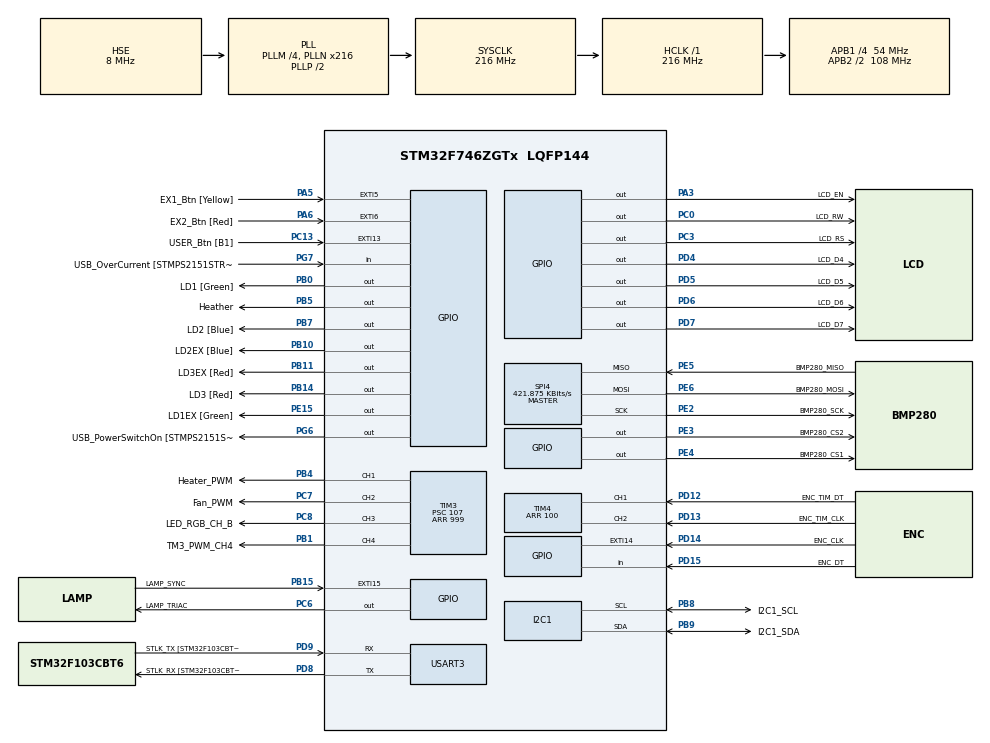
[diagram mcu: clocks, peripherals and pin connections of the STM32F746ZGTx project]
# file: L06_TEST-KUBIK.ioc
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Dma.Request0=USART3_RX
Dma.USART3_RX.0.Direction=DMA_PERIPH_TO_MEMORY
Dma.USART3_RX.0.FIFOMode=DMA_FIFOMODE_DISABLE
Dma.USART3_RX.0.Instance=DMA1_Stream1
Dma.USART3_RX.0.MemDataAlignment=DMA_MDATAALIGN_BYTE
Dma.USART3_RX.0.MemInc=DMA_MINC_ENABLE
Dma.USART3_RX.0.Mode=DMA_NORMAL
Dma.USART3_RX.0.PeriphDataAlignment=DMA_PDATAALIGN_BYTE
Dma.USART3_RX.0.PeriphInc=DMA_PINC_DISABLE
Dma.USART3_RX.0.Priority=DMA_PRIORITY_LOW
I2C1.Timing=0x20404768
Mcu.Family=STM32F7
Mcu.Name=STM32F746ZGTx
Mcu.Package=LQFP144
NVIC.DMA1_Stream1_IRQn=true\:0\:0\:false\:false\:true\:false\:true
NVIC.EXTI15_10_IRQn=true\:0\:0\:false\:false\:true\:true\:true
NVIC.EXTI9_5_IRQn=true\:0\:0\:false\:false\:true\:true\:true
NVIC.PriorityGroup=NVIC_PRIORITYGROUP_4
NVIC.TIM2_IRQn=true\:0\:0\:false\:false\:true\:true\:true
PA1.GPIO_Label=RMII_REF_CLK [LAN8742A-CZ-TR_REFCLK0]
PA1.Signal=ETH_REF_CLK
PA10.GPIO_Label=USB_ID
PA10.Signal=USB_OTG_FS_ID
PA11.GPIO_Label=USB_DM
PA11.Signal=USB_OTG_FS_DM
PA12.GPIO_Label=USB_DP
PA12.Signal=USB_OTG_FS_DP
PA13.GPIO_Label=TMS
PA13.Mode=Serial_Wire
PA13.Signal=SYS_JTMS-SWDIO
PA14.GPIO_Label=TCK
PA14.Mode=Serial_Wire
PA14.Signal=SYS_JTCK-SWCLK
PA2.GPIO_Label=RMII_MDIO [LAN8742A-CZ-TR_MDIO]
PA2.Signal=ETH_MDIO
PA3.GPIO_Label=LCD_EN
PA3.Signal=GPIO_Output
PA5.GPIO_Label=EX1_Btn [Yellow]
PA5.GPIO_ModeDefaultEXTI=GPIO_MODE_IT_FALLING
PA5.Signal=GPXTI5
PA6.GPIO_Label=EX2_Btn [Red]
PA6.GPIO_ModeDefaultEXTI=GPIO_MODE_IT_RISING
PA6.Signal=GPXTI6
PA8.GPIO_Label=USB_SOF [TP1]
PA8.Signal=USB_OTG_FS_SOF
PA9.GPIO_Label=USB_VBUS
PA9.Signal=USB_OTG_FS_VBUS
PB0.GPIO_Label=LD1 [Green]
PB0.Signal=GPIO_Output
PB1.GPIO_Label=TM3_PWM_CH4
PB1.Signal=S_TIM3_CH4
PB10.GPIO_Label=LD2EX [Blue]
PB10.Signal=GPIO_Output
PB11.GPIO_Label=LD3EX [Red]
PB11.Signal=GPIO_Output
PB13.GPIO_Label=RMII_TXD1 [LAN8742A-CZ-TR_TXD1]
PB13.Signal=ETH_TXD1
PB14.GPIO_Label=LD3 [Red]
PB14.Signal=GPIO_Output
PB15.GPIO_Label=LAMP_SYNC
PB15.Signal=GPXTI15
PB3.GPIO_Label=SW0
PB3.Signal=SYS_JTDO-SWO
PB4.GPIO_Label=Heater_PWM
PB4.Signal=S_TIM3_CH1
PB5.GPIO_Label=Heather
PB5.Signal=GPIO_Output
PB7.GPIO_Label=LD2 [Blue]
PB7.Signal=GPIO_Output
PB8.GPIO_Label=I2C1_SCL
PB8.GPIO_PuPdOD=GPIO_NOPULL
PB8.Mode=I2C
PB8.Signal=I2C1_SCL
PB9.GPIO_Label=I2C1_SDA
PB9.GPIO_PuPdOD=GPIO_NOPULL
PB9.Mode=I2C
PB9.Signal=I2C1_SDA
PC0.GPIO_Label=LCD_RW
PC0.Signal=GPIO_Output
PC1.GPIO_Label=RMII_MDC [LAN8742A-CZ-TR_MDC]
PC1.Signal=ETH_MDC
PC13.GPIO_Label=USER_Btn [B1]
PC13.Signal=GPXTI13
PC14/OSC32_IN.Mode=LSE-External-Oscillator
PC14/OSC32_IN.Signal=RCC_OSC32_IN
PC15/OSC32_OUT.Mode=LSE-External-Oscillator
PC15/OSC32_OUT.Signal=RCC_OSC32_OUT
PC3.GPIO_Label=LCD_RS
PC3.Signal=GPIO_Output
PC4.GPIO_Label=RMII_RXD0 [LAN8742A-CZ-TR_RXD0]
PC4.Signal=ETH_RXD0
PC5.GPIO_Label=RMII_RXD1 [LAN8742A-CZ-TR_RXD1]
PC5.Signal=ETH_RXD1
PC6.GPIO_Label=LAMP_TRIAC
PC6.GPIO_Speed=GPIO_SPEED_FREQ_HIGH
PC6.Signal=GPIO_Output
PC7.GPIO_Label=Fan_PWM
PC7.Signal=S_TIM3_CH2
PC8.GPIO_Label=LED_RGB_CH_B
PC8.Signal=S_TIM3_CH3
PD12.GPIO_Label=ENC_TIM_DT
PD12.Signal=S_TIM4_CH1
PD13.GPIO_Label=ENC_TIM_CLK
PD13.Signal=S_TIM4_CH2
PD14.GPIO_Label=ENC_CLK
PD14.GPIO_ModeDefaultEXTI=GPIO_MODE_IT_FALLING
PD14.Signal=GPXTI14
PD15.GPIO_Label=ENC_DT
PD15.Signal=GPIO_Input
PD4.GPIO_Label=LCD_D4
PD4.Signal=GPIO_Output
PD5.GPIO_Label=LCD_D5
PD5.Signal=GPIO_Output
PD6.GPIO_Label=LCD_D6
PD6.Signal=GPIO_Output
PD7.GPIO_Label=LCD_D7
PD7.Signal=GPIO_Output
PD8.GPIO_Label=STLK_RX [STM32F103CBT6_PA3]
PD8.Mode=Asynchronous
PD8.Signal=USART3_TX
PD9.GPIO_Label=STLK_TX [STM32F103CBT6_PA2]
PD9.Mode=Asynchronous
PD9.Signal=USART3_RX
PE15.GPIO_Label=LD1EX [Green]
PE15.Signal=GPIO_Output
PE2.GPIO_Label=BMP280_SCK
PE2.Mode=Full_Duplex_Master
PE2.Signal=SPI4_SCK
PE3.GPIO_Label=BMP280_CS2
PE3.GPIO_Speed=GPIO_SPEED_FREQ_VERY_HIGH
PE3.PinState=GPIO_PIN_SET
PE3.Signal=GPIO_Output
PE4.GPIO_Label=BMP280_CS1
PE4.GPIO_Speed=GPIO_SPEED_FREQ_VERY_HIGH
PE4.PinState=GPIO_PIN_SET
PE4.Signal=GPIO_Output
PE5.GPIO_Label=BMP280_MISO
PE5.Mode=Full_Duplex_Master
PE5.Signal=SPI4_MISO
PE6.GPIO_Label=BMP280_MOSI
PE6.Mode=Full_Duplex_Master
PE6.Signal=SPI4_MOSI
PG11.GPIO_Label=RMII_TX_EN [LAN8742A-CZ-TR_TXEN]
PG11.Signal=ETH_TX_EN
PG13.GPIO_Label=RMII_TXD0 [LAN8742A-CZ-TR_TXD0]
PG13.Signal=ETH_TXD0
PG6.GPIO_Label=USB_PowerSwitchOn [STMPS2151STR_EN]
PG6.Signal=GPIO_Output
PG7.GPIO_Label=USB_OverCurrent [STMPS2151STR_FAULT]
PG7.Signal=GPIO_Input
PH0/OSC_IN.GPIO_Label=MCO [STM32F103CBT6_PA8]
PH0/OSC_IN.Mode=HSE-External-Clock-Source
PH0/OSC_IN.Signal=RCC_OSC_IN
PH1/OSC_OUT.Mode=HSE-External-Clock-Source
PH1/OSC_OUT.Signal=RCC_OSC_OUT
ProjectManager.HeapSize=0x200
ProjectManager.StackSize=0x400
ProjectManager.TargetToolchain=STM32CubeIDE
RCC.48MHZClocksFreq_Value=24000000
RCC.AHBFreq_Value=216000000
RCC.APB1CLKDivider=RCC_HCLK_DIV4
RCC.APB1Freq_Value=54000000
RCC.APB1TimFreq_Value=108000000
RCC.APB2CLKDivider=RCC_HCLK_DIV2
RCC.APB2Freq_Value=108000000
RCC.APB2TimFreq_Value=216000000
RCC.CortexFreq_Value=216000000
RCC.HCLKFreq_Value=216000000
RCC.HSE_VALUE=8000000
RCC.HSI_VALUE=16000000
RCC.PLLM=4
RCC.PLLMUL=RCC_PLL_MUL9
RCC.PLLN=216
RCC.PLLQ=3
RCC.PLLSourceVirtual=RCC_PLLSOURCE_HSE
RCC.PRESCALERUSB=RCC_USBCLKSOURCE_PLL_DIV1_5
RCC.SYSCLKFreq_VALUE=216000000
RCC.SYSCLKSource=RCC_SYSCLKSOURCE_PLLCLK
RCC.SYSCLKSourceVirtual=RCC_SYSCLKSOURCE_PLLCLK
RCC.USBFreq_Value=144000000
RCC.VCOOutputFreq_Value=432000000
SH.S_TIM3_CH1.0=TIM3_CH1,PWM Generation1 CH1
SH.S_TIM3_CH2.0=TIM3_CH2,PWM Generation2 CH2
SH.S_TIM3_CH3.0=TIM3_CH3,PWM Generation3 CH3
SH.S_TIM3_CH4.0=TIM3_CH4,PWM Generation4 CH4
SH.S_TIM4_CH1.0=TIM4_CH1,Encoder_Interface
SH.S_TIM4_CH2.0=TIM4_CH2,Encoder_Interface
SPI4.BaudRatePrescaler=SPI_BAUDRATEPRESCALER_256
SPI4.CLKPhase=SPI_PHASE_2EDGE
SPI4.CLKPolarity=SPI_POLARITY_HIGH
SPI4.CalculateBaudRate=421.875 KBits/s
SPI4.DataSize=SPI_DATASIZE_8BIT
SPI4.Direction=SPI_DIRECTION_2LINES
SPI4.Mode=SPI_MODE_MASTER
SPI4.VirtualType=VM_MASTER
TIM2.Period=24999
TIM2.Prescaler=1007
TIM3.Channel-PWM\ Generation1\ CH1=TIM_CHANNEL_1
TIM3.Channel-PWM\ Generation2\ CH2=TIM_CHANNEL_2
TIM3.Channel-PWM\ Generation3\ CH3=TIM_CHANNEL_3
TIM3.Channel-PWM\ Generation4\ CH4=TIM_CHANNEL_4
TIM3.Period=999
TIM3.Prescaler=107
TIM3.Pulse-PWM\ Generation2\ CH2=0
TIM3.Pulse-PWM\ Generation3\ CH3=0
TIM4.EncoderMode=TIM_ENCODERMODE_TI12
TIM4.IC1Polarity=TIM_ICPOLARITY_FALLING
TIM4.IC2Polarity=TIM_ICPOLARITY_FALLING
TIM4.Period=100
USART3.VirtualMode-Asynchronous=VM_ASYNC
VP_TIM2_VS_ClockSourceINT.Mode=Internal
VP_TIM3_VS_ClockSourceINT.Mode=Internal
board=NUCLEO-F746ZG

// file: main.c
/* USER CODE BEGIN Header */
/**
******************************************************************************
* @file           : main.c
* @brief          : Main program body
******************************************************************************
* @attention
*
* <h2><center>&copy; Copyright (c) 2020 STMicroelectronics.
* All rights reserved.</center></h2>
*
* This software component is licensed by ST under BSD 3-Clause license,
* the "License"; You may not use this file except in compliance with the
* License. You may obtain a copy of the License at:
*                        opensource.org/licenses/BSD-3-Clause
*
******************************************************************************
*/
/* USER CODE END Header */
#include "main.h"
#include "dma.h"
#include "i2c.h"
#include "spi.h"
#include "tim.h"
#include "usart.h"
#include "gpio.h"

/* USER CODE BEGIN Includes */
#include "components.h"
#include <stdio.h>
#include <stdbool.h>
/* USER CODE END Includes */

/* USER CODE BEGIN PD */
#define TEMP_MIN 2550
#define TEMP_MAX 3750
#define TEMP_STEP 25

/* USER CODE END PD */

/* USER CODE BEGIN PV */
int32_t wzmocnienie_grzalka = 0;
int32_t wzmocnienie_wiatrak = 0;

uint32_t enc_counter = 0;
int32_t temperatura_zadana=TEMP_MIN;
uint32_t kp =20;
uint32_t uchyb = 0;
char rx_buffer[5];
char tx_buffer[200];
char tx_buffer2[50];
int32_t temp32;

/* USER CODE END PV */

void SystemClock_Config(void);

/* USER CODE BEGIN 0 */

/**
  * @brief  Period elapsed callback in non-blocking mode
  * @param  htim TIM handle
  * @retval None
  */
void HAL_TIM_PeriodElapsedCallback(TIM_HandleTypeDef *htim)
{
  if(htim->Instance==TIM2)
  {
    regulacja(&wzmocnienie_grzalka,  &wzmocnienie_wiatrak,  &kp, &uchyb,  &temperatura_zadana,  &temp32);
    sterowanie( &wzmocnienie_grzalka,  &wzmocnienie_wiatrak);
  }
}

/**
  * @brief  EXTI line detection callbacks.
  * @param  GPIO_Pin Specifies the pins connected EXTI line
  * @retval None
  */
void HAL_GPIO_EXTI_Callback(uint16_t GPIO_Pin)
{
  /*Przyciski do zmiany temperatury*/
  if(GPIO_Pin == EX1_Btn_Pin)
  {
    if(temperatura_zadana==TEMP_MIN)
    {
	  temperatura_zadana=TEMP_MIN;
    }
    else
    {
	  temperatura_zadana+=-TEMP_STEP;
    }
  }
  if(GPIO_Pin == EX2_Btn_Pin)
  {
    if(temperatura_zadana==TEMP_MAX)
    {
	  temperatura_zadana=TEMP_MAX;
    }
    else
    {
	  temperatura_zadana+=TEMP_STEP;
    }
  }
}

/**
  * @brief  Rx Transfer completed callback.
  * @param  huart UART handle.
  * @retval None
  */
void HAL_UART_RxCpltCallback(UART_HandleTypeDef *huart)
  {
  if(huart->Instance ==USART3)
    pobieranie_temperatury_UART(rx_buffer,&temperatura_zadana);
  }

/* USER CODE END 0 */

int main(void)
{
  /* USER CODE BEGIN 1 */
  int8_t BMP280_1_Status = -1;

  struct bmp280_uncomp_data bmp280_1_data;

  /* USER CODE END 1 */

  /* MCU Configuration--------------------------------------------------------*/

  /* Reset of all peripherals, Initializes the Flash interface and the Systick. */
  HAL_Init();

  /* Configure the system clock */
  SystemClock_Config();

  /* Initialize all configured peripherals */
  MX_GPIO_Init();
  MX_DMA_Init();
  MX_USART3_UART_Init();
  MX_TIM2_Init();
  MX_TIM3_Init();
  MX_TIM4_Init();
  MX_I2C1_Init();
  MX_SPI4_Init();
  /* USER CODE BEGIN 2 */
  //Inicjalizacja wyświetlacza
  lcd_init(&disp);

  //Status czujnika
  BMP280_1_Status = BMP280_Init(&bmp280_1);

  //Oczekiwanie na zadaną temperaturę po porcie szeregowym
  HAL_UART_Receive_DMA(&huart3,(uint8_t*)rx_buffer,4);

  //Uruchomienie kanału PWM do sterowania grzałką
  HAL_TIM_PWM_Start(&htim3,TIM_CHANNEL_1);

  //Uruchomienie kanału PWM do sterowania wentylatorem
  HAL_TIM_PWM_Start(&htim3,TIM_CHANNEL_2);

  //uruchomienie timera potrzebnego do regulacji
  HAL_TIM_Base_Start_IT(&htim2);

  /* USER CODE END 2 */

  /* Infinite loop */
  /* USER CODE BEGIN WHILE */
  while (1)
  {
    /* Odczytywanie surowych danych z sensora */
    BMP280_1_Status = bmp280_get_uncomp_data(&bmp280_1_data, &bmp280_1);

    /* Otrzymywanie 32-bitowej skompensowanej temperatury */
    BMP280_1_Status = bmp280_get_comp_temp_32bit(&temp32,   bmp280_1_data.uncomp_temp, &bmp280_1);

    /*LCD*/
    sprintf((char*)disp.f_line, "T:%d T_Z:%d",(int)temp32, (int)temperatura_zadana);
    sprintf((char*)disp.s_line, "w_g:%d w_w:%d", (int)wzmocnienie_grzalka,(int)wzmocnienie_wiatrak);
    lcd_display(&disp);

    //wysylanie po UART
    wysylanie_UART(tx_buffer, &temp32, &temperatura_zadana, &wzmocnienie_grzalka,  &wzmocnienie_wiatrak);

    /* Delay pomiedzy pomiarami = BMP280_ODR_250_MS */
    bmp280_1.delay_ms(250);

    /* USER CODE END WHILE */

  }
}

  /**
* @brief System Clock Configuration
* @retval None
*/
void SystemClock_Config(void)
{
  RCC_OscInitTypeDef RCC_OscInitStruct = {0};
  RCC_ClkInitTypeDef RCC_ClkInitStruct = {0};
  RCC_PeriphCLKInitTypeDef PeriphClkInitStruct = {0};

  /** Configure LSE Drive Capability
  */
  HAL_PWR_EnableBkUpAccess();
  /** Configure the main internal regulator output voltage
  */
  __HAL_RCC_PWR_CLK_ENABLE();
  __HAL_PWR_VOLTAGESCALING_CONFIG(PWR_REGULATOR_VOLTAGE_SCALE1);
  /** Initializes the RCC Oscillators according to the specified parameters
  * in the RCC_OscInitTypeDef structure.
  */
  RCC_OscInitStruct.OscillatorType = RCC_OSCILLATORTYPE_HSE;
  RCC_OscInitStruct.HSEState = RCC_HSE_BYPASS;
  RCC_OscInitStruct.PLL.PLLState = RCC_PLL_ON;
  RCC_OscInitStruct.PLL.PLLSource = RCC_PLLSOURCE_HSE;
  RCC_OscInitStruct.PLL.PLLM = 4;
  RCC_OscInitStruct.PLL.PLLN = 216;
  RCC_OscInitStruct.PLL.PLLP = RCC_PLLP_DIV2;
  RCC_OscInitStruct.PLL.PLLQ = 3;
  if (HAL_RCC_OscConfig(&RCC_OscInitStruct) != HAL_OK)
  {
    Error_Handler();
  }
  /** Activate the Over-Drive mode
  */
  if (HAL_PWREx_EnableOverDrive() != HAL_OK)
  {
    Error_Handler();
  }
  /** Initializes the CPU, AHB and APB buses clocks
  */
  RCC_ClkInitStruct.ClockType = RCC_CLOCKTYPE_HCLK|RCC_CLOCKTYPE_SYSCLK
				  |RCC_CLOCKTYPE_PCLK1|RCC_CLOCKTYPE_PCLK2;
  RCC_ClkInitStruct.SYSCLKSource = RCC_SYSCLKSOURCE_PLLCLK;
  RCC_ClkInitStruct.AHBCLKDivider = RCC_SYSCLK_DIV1;
  RCC_ClkInitStruct.APB1CLKDivider = RCC_HCLK_DIV4;
  RCC_ClkInitStruct.APB2CLKDivider = RCC_HCLK_DIV2;

  if (HAL_RCC_ClockConfig(&RCC_ClkInitStruct, FLASH_LATENCY_7) != HAL_OK)
  {
  Error_Handler();
  }
  PeriphClkInitStruct.PeriphClockSelection = RCC_PERIPHCLK_USART3|RCC_PERIPHCLK_I2C1;
  PeriphClkInitStruct.Usart3ClockSelection = RCC_USART3CLKSOURCE_PCLK1;
  PeriphClkInitStruct.I2c1ClockSelection = RCC_I2C1CLKSOURCE_PCLK1;
  if (HAL_RCCEx_PeriphCLKConfig(&PeriphClkInitStruct) != HAL_OK)
  {
    Error_Handler();
  }
}

void Error_Handler(void)
{
}

/************************ (C) COPYRIGHT STMicroelectronics *****END OF FILE****/
